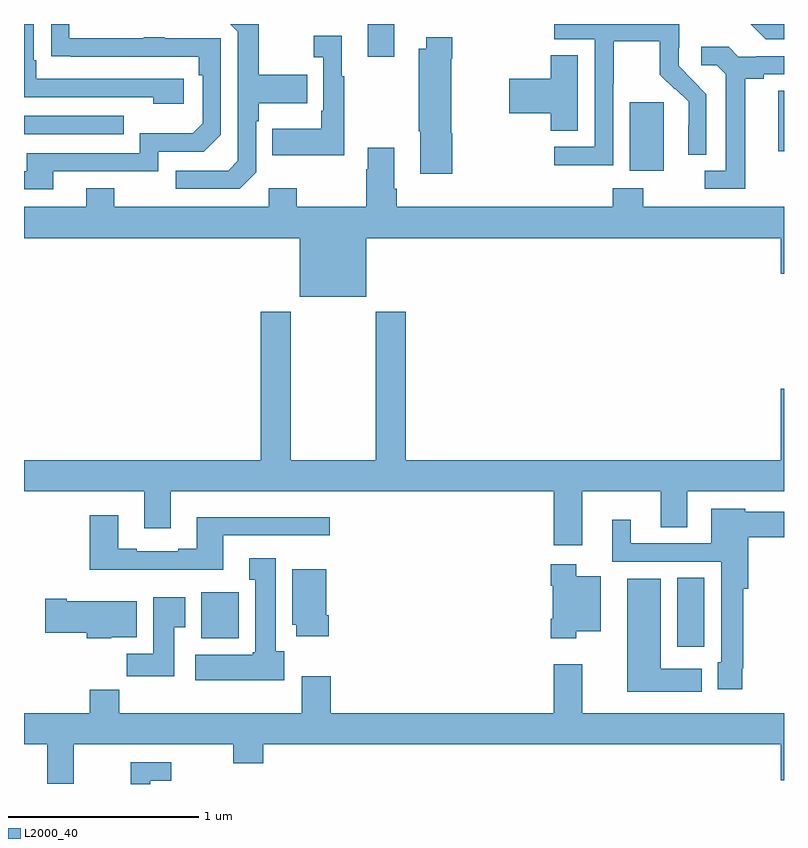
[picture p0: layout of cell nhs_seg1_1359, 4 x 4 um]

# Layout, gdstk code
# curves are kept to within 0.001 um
import gdstk
lib = gdstk.Library(unit=1e-6, precision=1e-09)
def R(c, l, rs):  # rectangles x0, y0, x1, y1
    for r in rs: c.add(gdstk.rectangle(r[:2], r[2:], *l))
def P(c, l, *ps):  # polygons
    for p in ps: c.add(gdstk.Polygon(p, *l))
L2000_40 = (2000, 40)

nhs_seg1_1359 = lib.new_cell('nhs_seg1_1359')
R(nhs_seg1_1359, L2000_40, [(188.438,542.922,188.581,543.284), (185.933,542.966,186.13,543.208), (188.189,545.426,188.368,545.787), (188.969,545.529,189,545.849), (185,545.619,185.525,545.715), (186.809,546.027,186.949,546.199)])
P(nhs_seg1_1359, L2000_40, [(186.222,545.418),(186.222,545.687),(186.235,545.687),(186.235,545.783),(186.491,545.783),(186.491,545.931),(186.235,545.931),(186.235,546.199),(186.086,546.199),(186.126,546.159),(186.126,545.478),(186.075,545.427),(185.799,545.427),(185.799,545.331),(186.135,545.331)],
  [(185.155,545.424),(185.706,545.424),(185.706,545.526),(185.946,545.526),(186.036,545.616),(186.036,546.123),(185.741,546.123),(185.741,546.128),(185.629,546.128),(185.629,546.123),(185.239,546.123),(185.239,546.199),(185.143,546.199),(185.143,546.028),(185.92,546.027),(185.92,545.93),(185.94,545.93),(185.94,545.676),(185.887,545.623),(185.61,545.623),(185.61,545.52),(185.015,545.52),(185.015,545.424),(185,545.424),(185,545.328),(185.155,545.328)],
  [(185.842,545.91),(185.065,545.91),(185.065,546.007),(185.052,546.007),(185.052,546.199),(185,546.199),(185,545.814),(185.681,545.814),(185.681,545.78),(185.842,545.78)],
  [(189,546.199),(188.825,546.199),(188.904,546.12),(189,546.12)],
  [(188.1,545.884),(188.103,545.884),(188.103,546.108),(188.347,546.108),(188.347,545.933),(188.424,545.856),(188.427,545.859),(188.498,545.789),(188.498,545.666),(188.496,545.666),(188.496,545.512),(188.592,545.512),(188.592,545.83),(188.446,545.978),(188.446,546.075),(188.448,546.075),(188.448,546.199),(187.791,546.199),(187.791,546.12),(188.004,546.12),(188.004,545.553),(187.791,545.553),(187.791,545.455),(188.1,545.455)],
  [(186.685,545.923),(186.673,545.923),(186.673,546.136),(186.525,546.136),(186.525,546.023),(186.576,546.023),(186.576,545.743),(186.564,545.743),(186.564,545.647),(186.307,545.647),(186.307,545.507),(186.685,545.507)],
  [(187.253,545.624),(187.248,545.624),(187.248,546.017),(187.253,546.017),(187.253,546.13),(187.118,546.13),(187.118,546.07),(187.078,546.07),(187.078,545.635),(187.085,545.635),(187.085,545.412),(187.253,545.412)],
  [(188.797,545.912),(188.893,545.912),(188.893,545.934),(189,545.934),(189,546.03),(188.854,546.03),(188.854,546.027),(188.76,546.027),(188.708,546.079),(188.565,546.079),(188.565,545.982),(188.646,545.982),(188.693,545.935),(188.693,545.427),(188.583,545.427),(188.583,545.331),(188.797,545.331)],
  [(187.915,546.035),(187.772,546.035),(187.772,545.912),(187.554,545.912),(187.554,545.729),(187.772,545.729),(187.772,545.638),(187.915,545.638)],
  [(186.802,545.072),(188.984,545.072),(188.984,544.884),(189,544.884),(189,545.236),(188.259,545.236),(188.259,545.335),(188.099,545.335),(188.099,545.236),(186.962,545.236),(186.962,545.332),(186.949,545.332),(186.949,545.548),(186.809,545.548),(186.809,545.435),(186.802,545.435),(186.802,545.236),(186.435,545.236),(186.435,545.335),(186.288,545.335),(186.288,545.236),(185.475,545.236),(185.475,545.335),(185.327,545.335),(185.327,545.236),(185,545.236),(185,545.072),(186.452,545.072),(186.452,544.763),(186.802,544.763)],
  [(187.939,543.74),(188.351,543.74),(188.351,543.55),(188.491,543.55),(188.491,543.74),(189,543.74),(189,544.279),(188.984,544.279),(188.984,543.904),(187.01,543.904),(187.01,544.684),(186.85,544.684),(186.85,543.904),(186.405,543.904),(186.405,544.684),(186.245,544.684),(186.245,543.904),(185,543.904),(185,543.74),(185.633,543.74),(185.633,543.546),(185.773,543.546),(185.773,543.74),(187.787,543.74),(187.787,543.456),(187.939,543.456)],
  [(188.779,542.809),(188.786,542.809),(188.786,543.227),(188.813,543.227),(188.813,543.497),(189,543.497),(189,543.631),(188.796,543.631),(188.796,543.649),(188.618,543.649),(188.618,543.465),(188.194,543.465),(188.194,543.589),(188.096,543.589),(188.096,543.369),(188.67,543.369),(188.67,542.841),(188.651,542.841),(188.651,542.697),(188.779,542.697)],
  [(186.049,543.507),(186.61,543.507),(186.61,543.604),(185.909,543.604),(185.909,543.436),(185.813,543.436),(185.813,543.423),(185.593,543.423),(185.593,543.436),(185.497,543.436),(185.497,543.613),(185.345,543.613),(185.345,543.326),(186.049,543.326)],
  [(186.37,542.898),(186.325,542.898),(186.325,543.388),(186.185,543.388),(186.185,543.275),(186.218,543.275),(186.218,542.892),(186.205,542.892),(186.205,542.878),(185.901,542.878),(185.901,542.744),(186.37,542.744)],
  [(187.906,543.002),(188.035,543.002),(188.035,543.292),(187.906,543.292),(187.906,543.355),(187.772,543.355),(187.772,543.242),(187.784,543.242),(187.784,543.07),(187.772,543.07),(187.772,542.966),(187.906,542.966)],
  [(186.605,543.088),(186.592,543.088),(186.592,543.328),(186.413,543.328),(186.413,543.036),(186.434,543.036),(186.434,542.976),(186.605,542.976)],
  [(188.566,542.806),(188.35,542.806),(188.35,543.28),(188.174,543.28),(188.174,542.684),(188.566,542.684)],
  [(185.791,543.025),(185.848,543.025),(185.848,543.181),(185.681,543.181),(185.681,542.884),(185.542,542.884),(185.542,542.766),(185.791,542.766)],
  [(185.46,542.972),(185.593,542.972),(185.593,543.16),(185.224,543.16),(185.224,543.173),(185.112,543.173),(185.112,542.995),(185.33,542.995),(185.33,542.966),(185.46,542.966)],
  [(185.263,542.408),(186.1,542.408),(186.1,542.309),(186.26,542.309),(186.26,542.408),(188.984,542.408),(188.984,542.22),(189,542.22),(189,542.572),(187.939,542.572),(187.939,542.83),(187.787,542.83),(187.787,542.572),(186.614,542.572),(186.614,542.767),(186.461,542.767),(186.461,542.572),(185.501,542.572),(185.501,542.696),(185.345,542.696),(185.345,542.572),(185,542.572),(185,542.408),(185.123,542.408),(185.123,542.2),(185.263,542.2)],
  [(185.665,542.217),(185.776,542.217),(185.776,542.313),(185.561,542.313),(185.561,542.199),(185.665,542.199)])

lib.write_gds('nhs_seg1_1359.gds')
